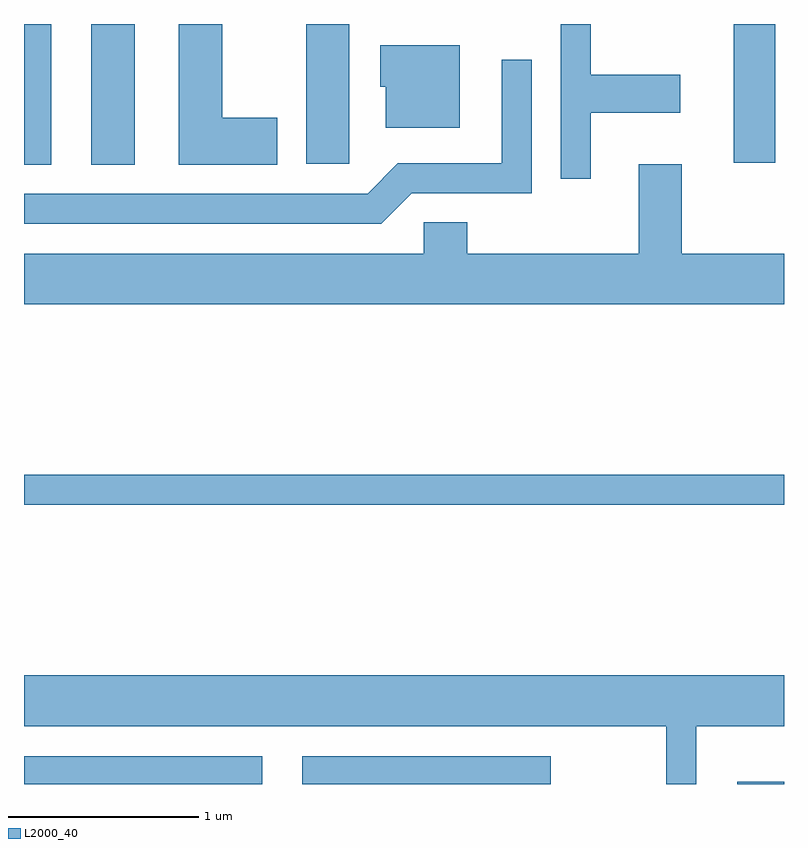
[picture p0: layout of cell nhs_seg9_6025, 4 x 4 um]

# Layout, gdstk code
import gdstk
lib = gdstk.Library(unit=1e-6, precision=1e-09)
def R(c, l, rs):  # rectangles x0, y0, x1, y1
    for r in rs: c.add(gdstk.rectangle(r[:2], r[2:], *l))
def P(c, l, *ps):  # polygons
    for p in ps: c.add(gdstk.Polygon(p, *l))
L2000_40 = (2000, 40)

nhs_seg9_6025 = lib.new_cell('nhs_seg9_6025')
R(nhs_seg9_6025, L2000_40, [(363.611,1960.432,364.864,1960.579), (365.076,1960.432,366.383,1960.579), (367.366,1960.432,367.611,1960.444), (363.611,1961.901,367.611,1962.059), (363.611,1963.691,363.754,1964.432), (363.966,1963.691,364.194,1964.432), (365.096,1963.696,365.324,1964.432), (367.346,1963.701,367.564,1964.432)])
P(nhs_seg9_6025, L2000_40, [(366.594,1963.966),(367.064,1963.966),(367.064,1964.164),(366.594,1964.164),(366.594,1964.432),(366.436,1964.432),(366.436,1963.618),(366.594,1963.618)],
  [(364.944,1963.939),(364.654,1963.939),(364.654,1964.432),(364.426,1964.432),(364.426,1963.691),(364.944,1963.691)],
  [(365.904,1964.319),(365.486,1964.319),(365.486,1964.101),(365.516,1964.101),(365.516,1963.886),(365.904,1963.886)],
  [(365.652,1963.541),(366.284,1963.541),(366.284,1964.243),(366.126,1964.243),(366.126,1963.699),(365.579,1963.699),(365.419,1963.539),(363.611,1963.539),(363.611,1963.381),(365.492,1963.381)],
  [(367.611,1963.224),(367.074,1963.224),(367.074,1963.694),(366.846,1963.694),(366.846,1963.224),(365.944,1963.224),(365.944,1963.389),(365.716,1963.389),(365.716,1963.224),(363.611,1963.224),(363.611,1962.956),(367.611,1962.956)],
  [(367.149,1960.736),(367.611,1960.736),(367.611,1961.004),(363.611,1961.004),(363.611,1960.736),(366.991,1960.736),(366.991,1960.432),(367.149,1960.432)])

lib.write_gds('nhs_seg9_6025.gds')
